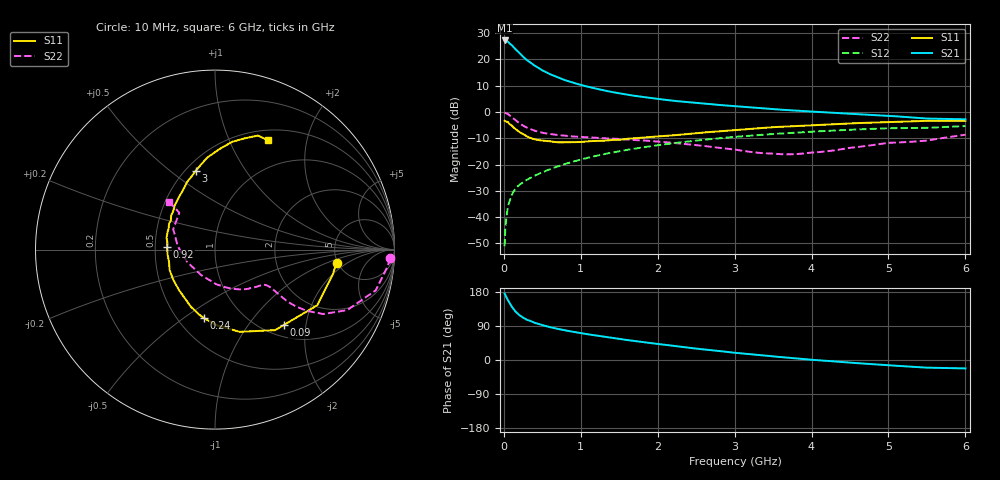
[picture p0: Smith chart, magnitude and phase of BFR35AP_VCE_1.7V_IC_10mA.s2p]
! Infineon Technologies  Discrete & RF Semiconductors
! BFR35AP
! VCE =  1.7 V,  IC =  10 mA
! Common Emitter S-Parameters:  Nov 2015
# GHz  S  MA  R  50
!  f  S11  S21  S12  S22
! GHz  MAG  ANG  MAG  ANG  MAG  ANG  MAG  ANG
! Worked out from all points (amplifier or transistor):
!   210 points, 10 MHz to 6 GHz, reference 50 ohm
!   highest |S21| = 27.2 dB at 10 MHz (marker M1)
!   |S21| within 3 dB of that: start of sweep to 140.7 MHz
!   unconditionally stable (mu >= 1): 517.6 MHz to 3.996 GHz; 5.4 GHz to 5.672 GHz
!   at 185 MHz: K = 0.58, MSG = 25.5 dB, |S12| = -28.2 dB
!   at 1.52 GHz: K = 1.13, MAG = 8.7 dB, |S12| = -14.8 dB
!   at 6 GHz: K = 0.99, MSG = 1.3 dB, |S12| = -5.4 dB
!   S11 on the Smith chart (normalised r, x): 10 MHz: 4.90, -1.32; 90 MHz: 1.21, -1.50; 240 MHz: 0.67, -0.60; 920 MHz: 0.58, +0.02; 3 GHz: 0.56, +0.62; 6 GHz: 0.62, +1.40
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0.01  0.6808 -6.1  22.94 175.6  0.0028 89.9  0.9782 -2.8
0.02  0.6711 -11.7  22.79 170.9  0.0062 82.0  0.9643 -5.9
0.05  0.6484 -28.6  21.92 158.5  0.0147 77.3  0.924 -14.2
0.09  0.5683 -47.8  19.32 145.1  0.0238 69.6  0.8307 -22.3
0.1  0.5599 -53.3  18.86 141.3  0.0261 68.5  0.8103 -24.6
0.15  0.478 -73.4  15.74 127.7  0.0347 62.8  0.7008 -30.8
0.2  0.42 -89.3  13.24 118.5  0.0408 60.5  0.6131 -33.8
0.24  0.3863 -99.2  11.6 113.1  0.045 59.7  0.5614 -34.8
0.26  0.3717 -104.0  10.9 110.5  0.0471 59.6  0.5394 -35.2
0.3  0.3448 -113.1  9.701 106.1  0.0512 60.0  0.5029 -35.6
0.4  0.3019 -131.7  7.614 98.2  0.0613 60.7  0.4405 -35.2
0.5  0.2867 -144.3  6.19 91.9  0.0709 62.0  0.4021 -34.6
0.7  0.2649 -165.6  4.556 82.0  0.0919 63.0  0.3651 -34.3
0.92  0.2672 177.2  3.53 73.7  0.1157 62.9  0.3409 -35.2
1.02  0.2701 170.3  3.217 70.3  0.1266 62.6  0.3338 -36.1
1.4  0.294 150.5  2.402 58.5  0.168 59.9  0.3122 -41.4
2.02  0.3436 128.1  1.758 41.9  0.2353 53.7  0.2717 -54.2
3  0.4524 103.7  1.286 19.1  0.3361 41.4  0.193 -88.0
3.1  0.4638 101.8  1.252 17.3  0.3447 39.9  0.1829 -93.2
4.1  0.5698 86.0  0.999 -0.8  0.4292 26.4  0.1728 -162.3
5.1  0.6482 73.9  0.827 -15.2  0.4915 12.5  0.2617 149.7
6  0.6771 64.4  0.725 -22.2  0.54 2.6  0.3688 133.7
